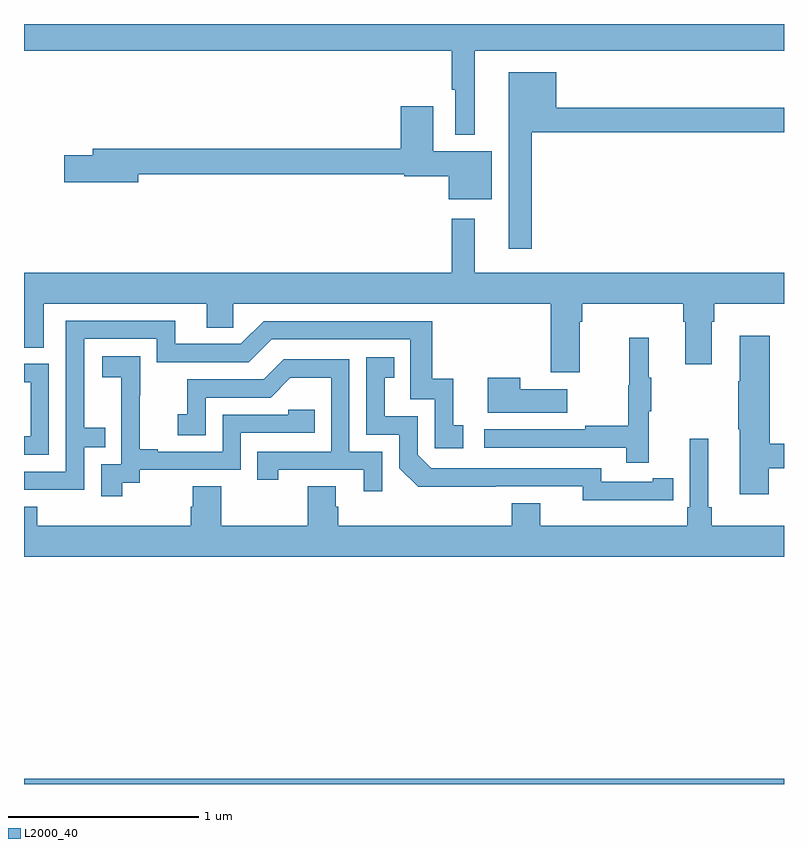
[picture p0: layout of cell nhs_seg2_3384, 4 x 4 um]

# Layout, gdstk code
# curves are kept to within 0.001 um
import gdstk
lib = gdstk.Library(unit=1e-6, precision=1e-09)
def R(c, l, rs):  # rectangles x0, y0, x1, y1
    for r in rs: c.add(gdstk.rectangle(r[:2], r[2:], *l))
def P(c, l, *ps):  # polygons
    for p in ps: c.add(gdstk.Polygon(p, *l))
L2000_40 = (2000, 40)

nhs_seg2_3384 = lib.new_cell('nhs_seg2_3384')
R(nhs_seg2_3384, L2000_40, [(289,619.8,293,619.828)])
P(nhs_seg2_3384, L2000_40, [(291.373,623.66),(293,623.66),(293,623.8),(289,623.8),(289,623.66),(291.252,623.66),(291.252,623.455),(291.269,623.455),(291.269,623.216),(291.373,623.216)],
  [(291.673,623.23),(293,623.23),(293,623.359),(291.802,623.359),(291.802,623.545),(291.551,623.545),(291.551,622.617),(291.673,622.617)],
  [(291.463,623.131),(291.154,623.131),(291.154,623.368),(290.984,623.368),(290.984,623.144),(289.361,623.144),(289.361,623.108),(289.212,623.108),(289.212,622.966),(289.6,622.966),(289.6,623.008),(291,623.008),(291,623),(291.236,623),(291.236,622.877),(291.463,622.877)],
  [(291.925,622.232),(291.938,622.232),(291.938,622.328),(292.469,622.328),(292.469,622.232),(292.481,622.232),(292.481,622.008),(292.621,622.008),(292.621,622.232),(292.634,622.232),(292.634,622.328),(293,622.328),(293,622.492),(291.373,622.492),(291.373,622.774),(291.252,622.774),(291.252,622.492),(289,622.492),(289,622.096),(289.105,622.096),(289.105,622.328),(289.961,622.328),(289.961,622.201),(290.1,622.201),(290.1,622.328),(291.773,622.328),(291.773,621.966),(291.925,621.966)],
  [(289.317,621.573),(289.427,621.573),(289.427,621.674),(289.317,621.674),(289.317,622.143),(289.698,622.143),(289.698,622.02),(290.184,622.02),(290.304,622.14),(291.033,622.14),(291.033,621.825),(291.162,621.825),(291.162,621.567),(291.313,621.567),(291.313,621.687),(291.26,621.687),(291.26,621.934),(291.149,621.934),(291.149,622.236),(290.262,622.236),(290.142,622.116),(289.795,622.116),(289.795,622.239),(289.221,622.239),(289.221,621.444),(289,621.444),(289,621.348),(289.317,621.348)],
  [(292.92,621.462),(293,621.462),(293,621.59),(292.925,621.59),(292.925,622.159),(292.766,622.159),(292.766,621.92),(292.759,621.92),(292.759,621.667),(292.766,621.667),(292.766,621.324),(292.92,621.324)],
  [(292.289,621.763),(292.3,621.763),(292.3,621.937),(292.289,621.937),(292.289,622.15),(292.186,622.15),(292.186,621.9),(292.179,621.9),(292.179,621.686),(291.955,621.686),(291.955,621.666),(291.423,621.666),(291.423,621.57),(292.171,621.57),(292.171,621.492),(292.289,621.492)],
  [(289.516,621.385),(289.608,621.385),(289.608,621.453),(290.142,621.453),(290.142,621.648),(290.531,621.648),(290.531,621.771),(290.391,621.771),(290.391,621.744),(290.046,621.744),(290.046,621.549),(289.705,621.549),(289.705,621.562),(289.61,621.562),(289.61,621.845),(289.611,621.845),(289.611,622.051),(289.413,622.051),(289.413,621.941),(289.511,621.941),(289.511,621.713),(289.512,621.713),(289.512,621.483),(289.407,621.483),(289.407,621.315),(289.516,621.315)],
  [(292.31,621.294),(292.418,621.294),(292.418,621.41),(292.31,621.41),(292.31,621.39),(292.038,621.39),(292.038,621.462),(291.144,621.462),(291.072,621.534),(291.072,621.735),(290.899,621.735),(290.899,621.939),(290.948,621.939),(290.948,622.045),(290.802,622.045),(290.802,621.639),(290.976,621.639),(290.976,621.462),(291.074,621.365),(291.942,621.366),(291.942,621.293)],
  [(290.886,621.549),(290.712,621.549),(290.712,622.035),(290.366,622.035),(290.261,621.93),(289.858,621.93),(289.858,621.745),(289.809,621.745),(289.809,621.636),(289.956,621.636),(289.956,621.834),(290.298,621.834),(290.402,621.938),(290.616,621.938),(290.616,621.549),(290.227,621.549),(290.227,621.402),(290.338,621.402),(290.338,621.453),(290.789,621.453),(290.789,621.342),(290.886,621.342)],
  [(289.131,622.011),(289,622.011),(289,621.915),(289.035,621.915),(289.035,621.63),(289,621.63),(289,621.534),(289.131,621.534)],
  [(291.859,621.877),(291.611,621.877),(291.611,621.937),(291.44,621.937),(291.44,621.755),(291.859,621.755)],
  [(293,621.16),(292.619,621.16),(292.619,621.256),(292.6,621.256),(292.6,621.616),(292.503,621.616),(292.503,621.256),(292.49,621.256),(292.49,621.16),(291.718,621.16),(291.718,621.277),(291.566,621.277),(291.566,621.16),(290.654,621.16),(290.654,621.258),(290.641,621.258),(290.641,621.368),(290.494,621.368),(290.494,621.16),(290.037,621.16),(290.037,621.368),(289.889,621.368),(289.889,621.258),(289.877,621.258),(289.877,621.16),(289.07,621.16),(289.07,621.259),(289,621.259),(289,620.996),(293,620.996)])

lib.write_gds('nhs_seg2_3384.gds')
